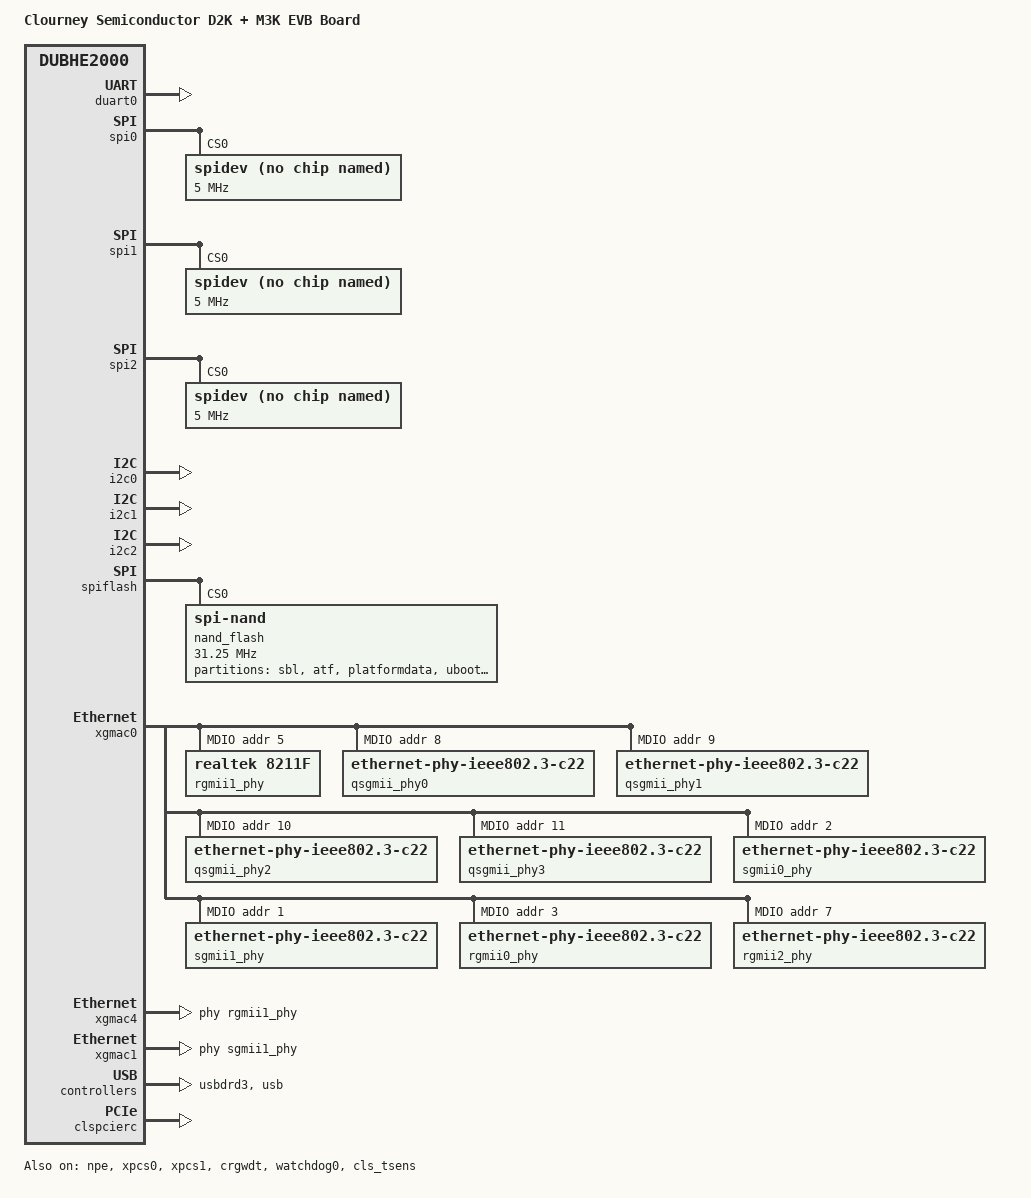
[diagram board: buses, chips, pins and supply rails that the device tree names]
// SPDX-License-Identifier: (GPL-2.0+ OR MIT)
/*
 * Device Tree Include file for Clourney dubhe2000 family SoC.
 *
 * Copyright (C) 2022-2024 Clourney Semiconductor - All Rights Reserved.
 *
 */

/dts-v1/;
#include "clourney-dubhe2000.dtsi"

/ {
	model = "Clourney Semiconductor D2K + M3K EVB Board";
	compatible = "clsemi,dubhe2000-evb-m3k", "clsemi,dubhe2000";

	aliases {
		serial0 = &duart0;
		spidev0 = &spi0;
                spidev1 = &spi1;
		spidev2 = &spi2;
		spinand = &spiflash;

	};

	chosen {
		stdout-path = "serial0:115200n8";
	};

	macros {
	    #define MMC_CARD_USED   1
	 };
};

&duart0 {
	status = "ok";
};

&spi0 {
	status = "ok";
	spidev@0 {
		spi-max-frequency = <5000000>;
		reg = <0>;
		compatible = "linux,spidev";
	};
};

&spi1 {
	status = "ok";
	spidev@0 {
		spi-max-frequency = <5000000>;
		reg = <0>;
		compatible = "linux,spidev";
	};
};

&spi2 {
	status = "ok";
	spidev@0 {
		spi-max-frequency = <5000000>;
		reg = <0>;
		compatible = "linux,spidev";
	};
};

&i2c0 {
        label = "I2C0";
        status = "okay";
};

&i2c1 {
	label = "I2C1";
	status = "okay";
};

&i2c2 {
        label = "I2C2";
        status = "okay";
};

&spiflash {
	rx-sample-delay-ns = <8>;
	status = "ok";

	nand_flash: flash@0 {
		compatible = "spi-nand";
		/* Avoid interference with 5G and 2.4G, not setting clk to  41.67MHz  */
		spi-max-frequency = <31250000>;
		reg = <0>;
		#address-cells = <1>;
		#size-cells = <1>;

		/*0.5MB*/
		partition@0 {
			label = "sbl";
			reg = <0x0 0x80000>;
		};

		/*0.5MB*/
		partition@1 {
			label = "atf";
			reg = <0x80000 0x80000>;
		};

		/*1MB*/
		partition@2 {
			label = "platformdata";
			reg = <0x100000 0x100000>;
		};

		/*2MB*/
		partition@3 {
			label = "uboot";
			reg = <0x200000 0x200000>;
		};

		/*1MB*/
		partition@4 {
			label = "caldata";
			reg = <0x400000 0x100000>;
		};

		/*1MB*/
		partition@5 {
			label = "caldata2";
			reg = <0x500000 0x100000>;
		};

		/*1.5MB*/
                partition@6 {
                        label = "ubootenv";
                        reg = <0x600000 0x180000>;
                };

		/*1.5MB*/
                partition@7 {
                        label = "boarddata";
                        reg = <0x780000 0x180000>;
                };

		/*32MB*/
                partition@8 {
                        label = "fw1";
                        reg = <0x900000 0x2000000>;
                };

		/*32MB*/
                partition@9 {
                        label = "fw2";
                        reg = <0x2900000 0x2000000>;
                };

		/*55MB*/
                partition@10 {
                        label = "reserved";
                        reg = <0x4900000 0x3700000>;
                };
	};
};

&npe  {
	status = "ok";
	switch-pause = <4>;
};

&xpcs0 {
	phy-mode = "usxgmii";
	usxg_mode = <0>;
	status = "okay";
};

&xpcs1 {
	phy-mode = "sgmii";
	status = "okay";
};

&xgmac0 {
	mode = "non-rgmii";
	max-speed = <10000>;
	mac-address = [a0 c0 ab 39 cc f0];
	sfp;
	mdio-flags = <1>;
	clk_csr = <1>;
	status = "okay";
	mdio {
	compatible = "clourney,mdio";
	#address-cells = <1>;
	#size-cells = <0>;
	device_type = "mdio";
	status = "okay";
	rgmii1_phy: ethernet-phy@5 {
		 compatible = "realtek,8211f","ethernet-phy-ieee802.3-c22";
		 reg = <0x5>;
	};
	qsgmii_phy0: ethernet-phy@8 {
		 compatible = "ethernet-phy-ieee802.3-c22";
		 port-id = <0>;
		 reg = <0x8>;
	};
	qsgmii_phy1: ethernet-phy@9 {
		compatible = "ethernet-phy-ieee802.3-c22";
		port-id = <1>;
		reg = <0x9>;
	};
	qsgmii_phy2: ethernet-phy@a {
		compatible = "ethernet-phy-ieee802.3-c22";
		port-id = <2>;
		reg = <0xa>;
	};
	qsgmii_phy3: ethernet-phy@b {
		compatible = "ethernet-phy-ieee802.3-c22";
		port-id = <3>;
		reg = <0xb>;
	};
	sgmii0_phy: ethernet-phy@01 {
		compatible = "ethernet-phy-ieee802.3-c22";
		reg = <0x2>;
	};
	sgmii1_phy: ethernet-phy@1 {
		compatible = "ethernet-phy-ieee802.3-c22";
		reg = <0x1>;
	};
	rgmii0_phy: ethernet-phy@3 {
		compatible = "ethernet-phy-ieee802.3-c22";
		reg = <0x3>;
	};
	rgmii2_phy: ethernet-phy@7 {
		compatible = "ethernet-phy-ieee802.3-c22";
		reg = <0x7>;
	};
  };
};

&xgmac4 {
	mode = "rgmii";
	max-speed = <1000>;
	mac-address = [a0 c0 ab 39 cc f2];
	mdio-flags = <1>;
	phy-handle = <&rgmii1_phy>;
	rgmii-rx-delay = <1>;
	mdio-flags = <1>;
	status = "okay";
};


&xgmac1 {
	mode = "non-rgmii";
	mac-address = [a0 c0 ab 39 cc f3];
	max-speed = <25000>;
	phy-handle = <&sgmii1_phy>;
	mdio-flags = <1>;
	status = "okay";
};

&xgmac2 {
	status = "disabled";
};

&xgmac3 {
	status = "disabled";
};

&wifi0 { status = "disabled"; };

&wifi1 { status = "disabled"; };

&wifiarc { status = "disabled"; };

&crgwdt {
        timeout-sec = <WDT_TIMEOUT_S>;
        status = "ok";
};

&watchdog0 {
	timeout-sec = <WDT_TIMEOUT_S>;
	status = "ok";
};

&gpio0 { status = "ok"; };

&gpio1 { status = "ok"; };

&gpio_keys { status = "ok"; };

&gpio_leds { status = "ok"; };

&usbdrd3 { status = "ok";};

&usb {status = "ok"; };

&sdhci {
	disable-wp;
	keep-power-in-suspend;
	sdhci-caps-mask = <0xff0000 0x0>;
	sdhci-caps = <0x0 0x0>;
	max-frequency = <125000000>;

	#if MMC_CARD_USED
	bus-width = <8>;
	non-removable;
	no-sdio;
	no-sd;
	cap-mmc-highspeed;
	mmc-hs200-1_8v;
	keep-power-in-suspend;
	/* HS400 mode */
	#elif SD_CARD_USED
	bus-width = <4>;
	no-sdio;
	no-mmc;
	supports-sd;
	card-detect-delay = <2000>;
	cap-sd-highspeed;
	/* controller clock frequence low than 50M is recommended */
	sd-uhs-sdr12;
	sd-uhs-sdr25;
	sd-uhs-sdr50;
	sd-uhs-sdr104;
	no-1-8-v;
	#elif SDIO_CARD_USED
	no-sd;
	no-mmc;
	#endif
	status = "disabled";
};

&pvt_sensor {
	status = "disabled";
        // T2
        temp_rise_alarm2_L = "102000";
        temp_rise_alarm2_H = "110000";
        temp_fall_alarm2_H = "110000";
        temp_fall_alarm2_L = "102000";
        // T0
        temp_rise_alarm0_L = "110000";
        temp_rise_alarm0_H = "118000";
        temp_fall_alarm0_H = "118000";
        temp_fall_alarm0_L = "110000";
        // T1
        temp_rise_alarm1_L = "118000";
        temp_rise_alarm1_H = "126000";
        temp_fall_alarm1_H = "126000";
        temp_fall_alarm1_L = "118000";
};

&cls_tsens {
	status = "ok";
        // T2
        temp_rise_alarm2_L = "102000";
        temp_rise_alarm2_H = "110000";
        temp_fall_alarm2_H = "110000";
        temp_fall_alarm2_L = "102000";
        // T0
        temp_rise_alarm0_L = "110000";
        temp_rise_alarm0_H = "118000";
        temp_fall_alarm0_H = "118000";
        temp_fall_alarm0_L = "110000";
        // T1
        temp_rise_alarm1_L = "118000";
        temp_rise_alarm1_H = "126000";
        temp_fall_alarm1_H = "126000";
        temp_fall_alarm1_L = "118000";
};

&clspcierc {
	perst-gpio = <&gpio0 10 1>;
	status = "ok";
};
